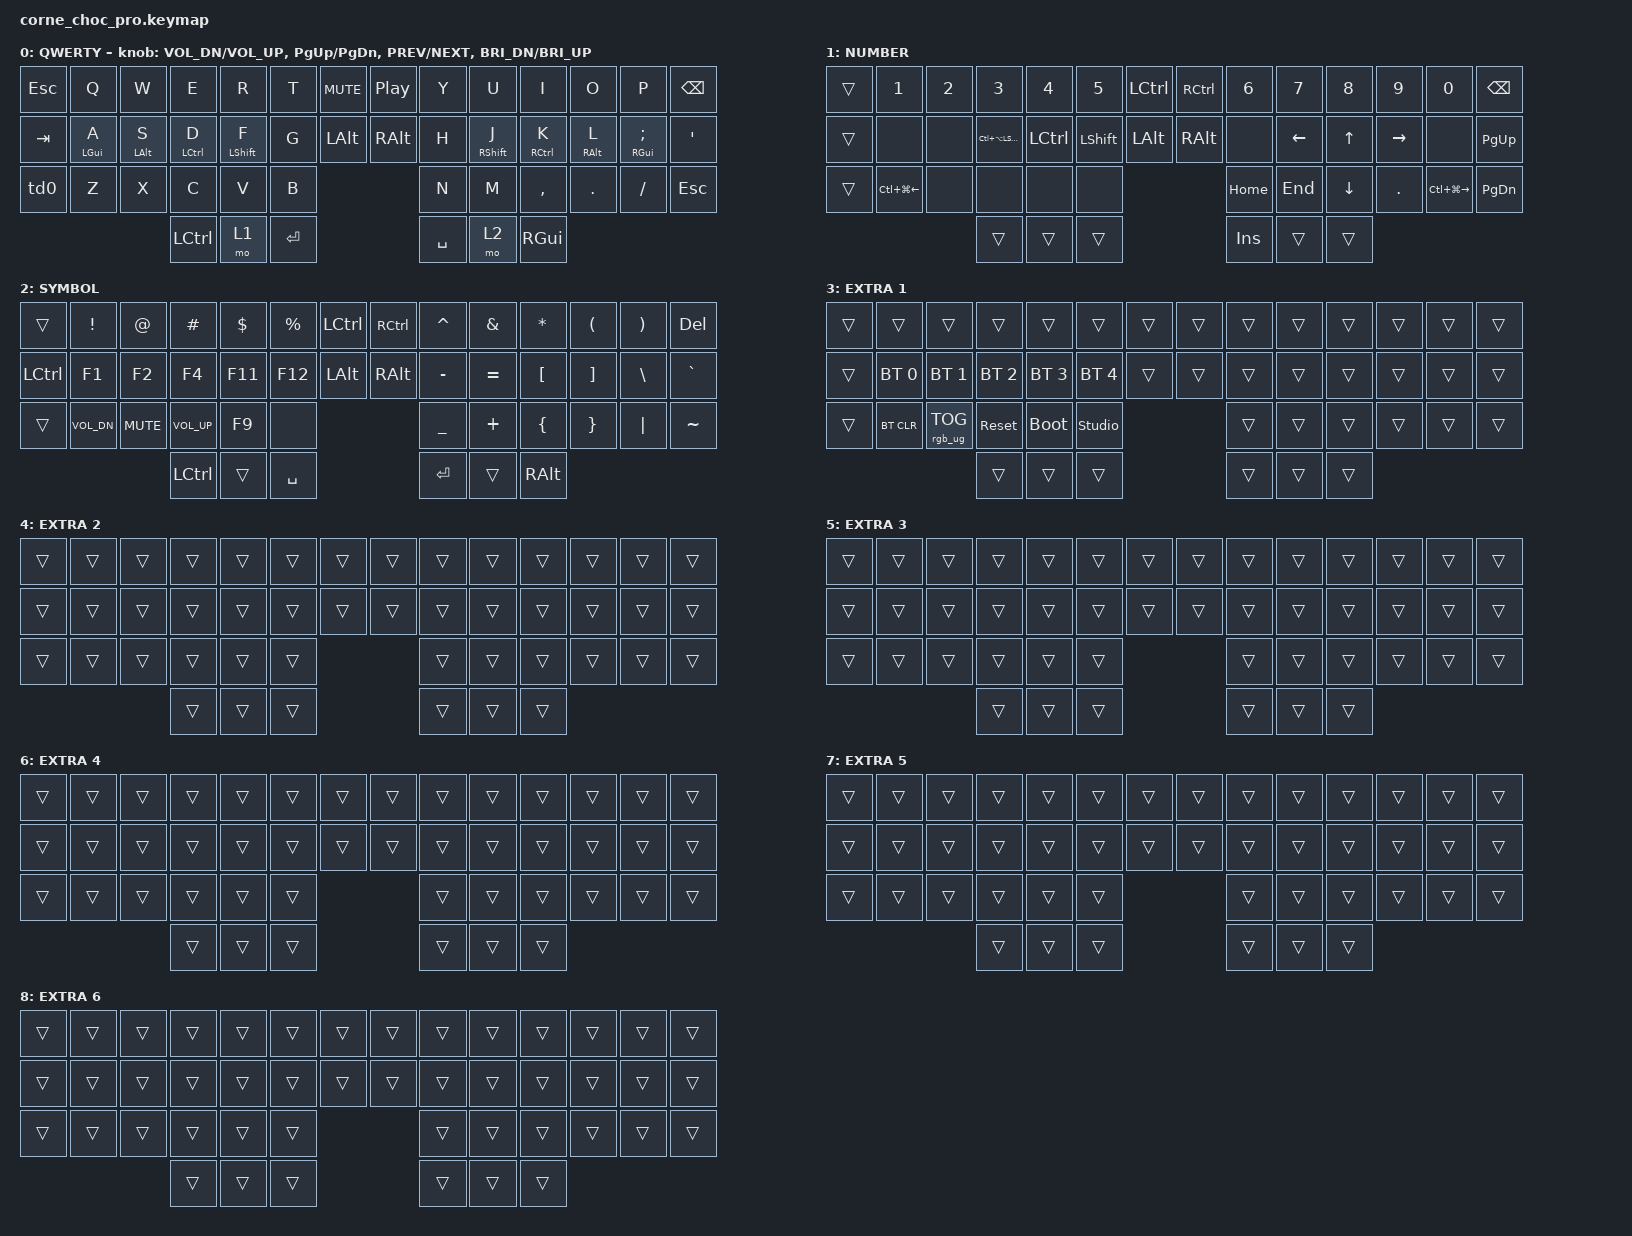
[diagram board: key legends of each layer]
/*
 * Copyright (c) 2020 The ZMK Contributors
 *
 * SPDX-License-Identifier: MIT
 */

#include <behaviors.dtsi>
#include <dt-bindings/zmk/bt.h>
#include <dt-bindings/zmk/keys.h>
#include <dt-bindings/zmk/rgb.h>

/ {
    chosen { zmk,physical-layout = &default_layout; };
};

/ {
    behaviors {
        td0: td0 {
            compatible = "zmk,behavior-tap-dance";
            label = "TD0";
            #binding-cells = <0>;
            bindings = <&kp LEFT_SHIFT>, <&kp CAPSLOCK>;
        };

        hmr: hmr {
            compatible = "zmk,behavior-hold-tap";
            label = "HMR";
            bindings = <&kp>, <&kp>;

            #binding-cells = <2>;
            tapping-term-ms = <280>;
            quick-tap-ms = <175>;
            require-prior-idle-ms = <150>;
            flavor = "balanced";
            hold-trigger-on-release;
            hold-trigger-key-positions = <0 1 2 3 4 5 6 14 15 16 17 18 19 20 28 29 30 31 32 33 40 41 42 43 44 45>;
        };

        hml: hml {
            compatible = "zmk,behavior-hold-tap";
            label = "HML";
            bindings = <&kp>, <&kp>;

            #binding-cells = <2>;
            tapping-term-ms = <280>;
            quick-tap-ms = <175>;
            require-prior-idle-ms = <150>;
            flavor = "balanced";
            hold-trigger-on-release;
            hold-trigger-key-positions = <7 8 9 10 11 12 13 21 22 23 24 25 26 27 34 35 36 37 38 39 43 44 45 42 41 40>;
        };
    };

    combos {
        compatible = "zmk,combos";

        mo3 {
            bindings = <&mo 3>;
            key-positions = <42 43>;
        };
    };

    keymap {
        compatible = "zmk,keymap";

        default_layer {
            display-name = "QWERTY";

            // --------------------------------------------------------------------------------
            // |  TAB |  Q  |  W  |  E  |  R  |  T  |  MUTE |  PP   |  Y  |  U   |  I  |  O  |  P  | BSPC |
            // | CTRL |  A  |  S  |  D  |  F  |  G  |  LALT |  RALT |  H  |  J   |  K  |  L  |  ;  |  '   |
            // | SHFT |  Z  |  X  |  C  |  V  |  B  |               |  N  |  M   |  ,  |  .  |  /  | ESC  |
            //                    | GUI | LWR | SPC |               | ENT | RSE  | ALT |

            bindings = <
&kp ESCAPE  &kp Q            &kp W            &kp E                &kp R              &kp T      &kp C_MUTE  &kp C_PP  &kp Y      &kp U               &kp I                 &kp O             &kp P                     &kp BSPC
&kp TAB     &hml LEFT_GUI A  &hml LEFT_ALT S  &hml LEFT_CONTROL D  &hml LEFT_SHIFT F  &kp G      &kp LALT    &kp RALT  &kp H      &hmr RIGHT_SHIFT J  &hmr RIGHT_CONTROL K  &hmr RIGHT_ALT L  &hmr RIGHT_GUI SEMICOLON  &kp SQT
&td0        &kp Z            &kp X            &kp C                &kp V              &kp B                            &kp N      &kp M               &kp COMMA             &kp DOT           &kp FSLH                  &kp ESC
                                              &kp LEFT_CONTROL     &mo 1              &kp ENTER                        &kp SPACE  &mo 2               &kp RIGHT_GUI
            >;

            sensor-bindings = <&inc_dec_kp C_VOL_DN C_VOL_UP &inc_dec_kp PG_UP PG_DN &inc_dec_kp C_PREV C_NEXT &inc_dec_kp C_BRI_DN C_BRI_UP>;
        };

        lower_layer {
            display-name = "NUMBER";

            // -----------------------------------------------------------------------------------------
            // |  TAB |  1  |  2  |  3  |  4  |  5    |  LCTRL | RCTRL |  6  |  7  |  8  |  9  |  0  | BSPC |
            // | CTRL | BT1 | BT2 | BT3 | BT4 | BT5   |  LALT  | RALT  | LFT | DWN |  UP | RGT |     |      |
            // | SHFT | BTCR| RGB | RST | BOOT| Unlock|        |       |     |     |     |     |     |      |
            //                    | GUI |     | SPC   |        | ENT   |     | ALT |

            bindings = <
&trans  &kp N1            &kp N2  &kp N3                  &kp N4            &kp N5          &kp LCTRL  &kp RCTRL  &kp N6    &kp N7    &kp N8    &kp N9     &kp N0             &kp BSPC
&trans  &none             &none   &kp LC(LA(LEFT_SHIFT))  &kp LEFT_CONTROL  &kp LEFT_SHIFT  &kp LALT   &kp RALT   &none     &kp LEFT  &kp UP    &kp RIGHT  &none              &kp PAGE_UP
&trans  &kp LC(LG(LEFT))  &none   &none                   &none             &none                                 &kp HOME  &kp END   &kp DOWN  &kp DOT    &kp LC(LG(RIGHT))  &kp PAGE_DOWN
                                  &trans                  &trans            &trans                                &kp INS   &trans    &trans
            >;
        };

        raise_layer {
            display-name = "SYMBOL";

            // -----------------------------------------------------------------------------------------
            // |  TAB |  !  |  @  |  #  |  $  |  %  | LCTRL | RCTRL |  ^  |  &  |  *  |  (  |  )  | BSPC |
            // | CTRL |     |     |     |     |     |  LALT | RALT  |  -  |  =  |  [  |  ]  |  \  |  `   |
            // | SHFT |     |     |     |     |     |               |  _  |  +  |  {  |  }  | "|" |  ~   |
            //                    | GUI |     | SPC |               | ENT |     | ALT |

            bindings = <
&trans     &kp EXCL      &kp AT      &kp HASH          &kp DLLR  &kp PRCNT  &kp LCTRL  &kp RCTRL  &kp CARET  &kp AMPS   &kp ASTRK  &kp LPAR  &kp RPAR  &kp DEL
&kp LCTRL  &kp F1        &kp F2      &kp F4            &kp F11   &kp F12    &kp LALT   &kp RALT   &kp MINUS  &kp EQUAL  &kp LBKT   &kp RBKT  &kp BSLH  &kp GRAVE
&trans     &kp C_VOL_DN  &kp K_MUTE  &kp C_VOL_UP      &kp F9    &none                            &kp UNDER  &kp PLUS   &kp LBRC   &kp RBRC  &kp PIPE  &kp TILDE
                                     &kp LEFT_CONTROL  &trans    &kp SPACE                        &kp RET    &trans     &kp RALT
            >;
        };

        extra_layer_1 {
            display-name = "EXTRA 1";
            bindings = <
&trans  &trans        &trans           &trans        &trans        &trans          &trans  &trans  &trans  &trans  &trans  &trans  &trans  &trans
&trans  &bt BT_SEL 0  &bt BT_SEL 1     &bt BT_SEL 2  &bt BT_SEL 3  &bt BT_SEL 4    &trans  &trans  &trans  &trans  &trans  &trans  &trans  &trans
&trans  &bt BT_CLR    &rgb_ug RGB_TOG  &sys_reset    &bootloader   &studio_unlock                  &trans  &trans  &trans  &trans  &trans  &trans
                                       &trans        &trans        &trans                          &trans  &trans  &trans
            >;
        };

        extra_layer_2 {
            display-name = "EXTRA 2";
            bindings = <
&trans  &trans  &trans  &trans  &trans  &trans  &trans  &trans  &trans  &trans  &trans  &trans  &trans  &trans
&trans  &trans  &trans  &trans  &trans  &trans  &trans  &trans  &trans  &trans  &trans  &trans  &trans  &trans
&trans  &trans  &trans  &trans  &trans  &trans                  &trans  &trans  &trans  &trans  &trans  &trans
                        &trans  &trans  &trans                  &trans  &trans  &trans
            >;
        };

        extra_layer_3 {
            display-name = "EXTRA 3";
            bindings = <
&trans  &trans  &trans  &trans  &trans  &trans  &trans  &trans  &trans  &trans  &trans  &trans  &trans  &trans
&trans  &trans  &trans  &trans  &trans  &trans  &trans  &trans  &trans  &trans  &trans  &trans  &trans  &trans
&trans  &trans  &trans  &trans  &trans  &trans                  &trans  &trans  &trans  &trans  &trans  &trans
                        &trans  &trans  &trans                  &trans  &trans  &trans
            >;
        };

        extra_layer_4 {
            display-name = "EXTRA 4";
            bindings = <
&trans  &trans  &trans  &trans  &trans  &trans  &trans  &trans  &trans  &trans  &trans  &trans  &trans  &trans
&trans  &trans  &trans  &trans  &trans  &trans  &trans  &trans  &trans  &trans  &trans  &trans  &trans  &trans
&trans  &trans  &trans  &trans  &trans  &trans                  &trans  &trans  &trans  &trans  &trans  &trans
                        &trans  &trans  &trans                  &trans  &trans  &trans
            >;
        };

        extra_layer_5 {
            display-name = "EXTRA 5";
            bindings = <
&trans  &trans  &trans  &trans  &trans  &trans  &trans  &trans  &trans  &trans  &trans  &trans  &trans  &trans
&trans  &trans  &trans  &trans  &trans  &trans  &trans  &trans  &trans  &trans  &trans  &trans  &trans  &trans
&trans  &trans  &trans  &trans  &trans  &trans                  &trans  &trans  &trans  &trans  &trans  &trans
                        &trans  &trans  &trans                  &trans  &trans  &trans
            >;
        };

        extra_layer_6 {
            display-name = "EXTRA 6";
            bindings = <
&trans  &trans  &trans  &trans  &trans  &trans  &trans  &trans  &trans  &trans  &trans  &trans  &trans  &trans
&trans  &trans  &trans  &trans  &trans  &trans  &trans  &trans  &trans  &trans  &trans  &trans  &trans  &trans
&trans  &trans  &trans  &trans  &trans  &trans                  &trans  &trans  &trans  &trans  &trans  &trans
                        &trans  &trans  &trans                  &trans  &trans  &trans
            >;
        };
    };
};
